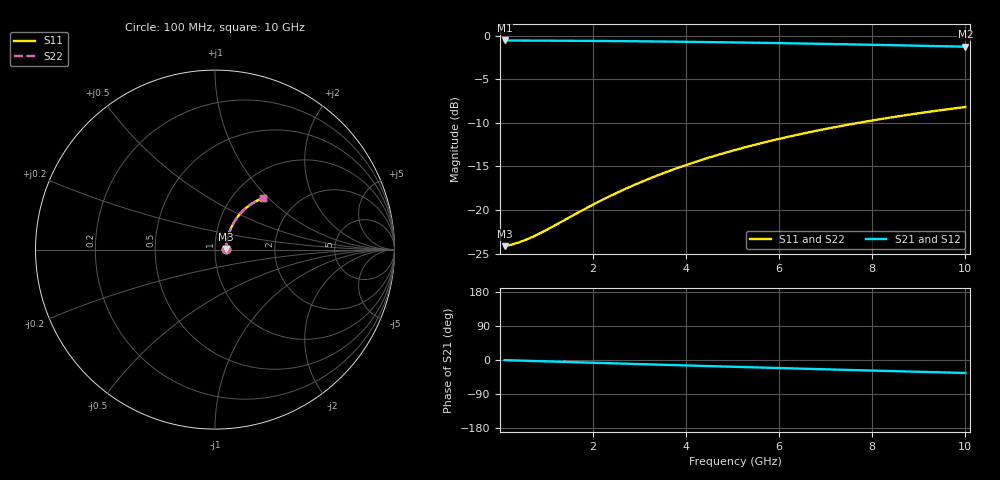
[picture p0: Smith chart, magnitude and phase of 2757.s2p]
# Hz S RI R 50.00
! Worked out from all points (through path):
!   100 points, 100 MHz to 10 GHz, reference 50 ohm
!   highest |S21| = -0.56 dB at 100 MHz (marker M1); lowest = -1.3 dB at 10 GHz (marker M2)
!   group delay of S21, straight-line fit = 9.54 ps
!   lowest |S11| = -24.1 dB at 100 MHz (marker M3), VSWR 1.13, Z = 56.6 + j0.449 ohm
!   |S11| at or under -10 dB: start of sweep to 7.707 GHz
!   |S22| runs from -24.1 to -8.2 dB; largest |S21 - S12| = 0
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1e8  0.0619 0.00395  0.9381 -0.00593  0.9381 -0.00593  0.0619 0.00395
3e8  0.0628 0.0118  0.9372 -0.0178  0.9372 -0.0178  0.0628 0.0118
4e8  0.0632 0.0157  0.9368 -0.0237  0.9368 -0.0237  0.0632 0.0157
5e8  0.0636 0.0197  0.9363 -0.0296  0.9363 -0.0296  0.0636 0.0197
7e8  0.0645 0.0275  0.9354 -0.0414  0.9354 -0.0414  0.0645 0.0275
1e9  0.0662 0.0392  0.9336 -0.059  0.9336 -0.059  0.0662 0.0392
1.8e9  0.0724 0.0698  0.9269 -0.1055  0.9269 -0.1055  0.0724 0.0698
2.2e9  0.0766 0.0848  0.9224 -0.1285  0.9224 -0.1285  0.0766 0.0848
2.6e9  0.0815 0.0996  0.9171 -0.1512  0.9171 -0.1512  0.0815 0.0996
3e9  0.087 0.114  0.9111 -0.1735  0.9111 -0.1735  0.087 0.114
3.4e9  0.0933 0.1281  0.9043 -0.1956  0.9043 -0.1956  0.0933 0.1281
3.8e9  0.1002 0.1418  0.8968 -0.2172  0.8968 -0.2172  0.1002 0.1418
4.2e9  0.1077 0.155  0.8887 -0.2384  0.8887 -0.2384  0.1077 0.155
4.6e9  0.1158 0.1678  0.8798 -0.2592  0.8798 -0.2592  0.1158 0.1678
5.1e9  0.1267 0.1831  0.8679 -0.2845  0.8679 -0.2845  0.1267 0.1831
5.5e9  0.136 0.1948  0.8577 -0.3042  0.8577 -0.3042  0.136 0.1948
5.9e9  0.1458 0.2059  0.847 -0.3233  0.847 -0.3233  0.1458 0.2059
6.7e9  0.1667 0.2264  0.824 -0.3599  0.824 -0.3599  0.1667 0.2264
7.5e9  0.189 0.2446  0.7993 -0.3942  0.7993 -0.3942  0.189 0.2446
8.4e9  0.2156 0.2622  0.7698 -0.4299  0.7698 -0.4299  0.2156 0.2622
9.2e9  0.24 0.2751  0.7423 -0.4591  0.7423 -0.4591  0.24 0.2751
1e10  0.2651 0.2857  0.714 -0.486  0.714 -0.486  0.2651 0.2857
